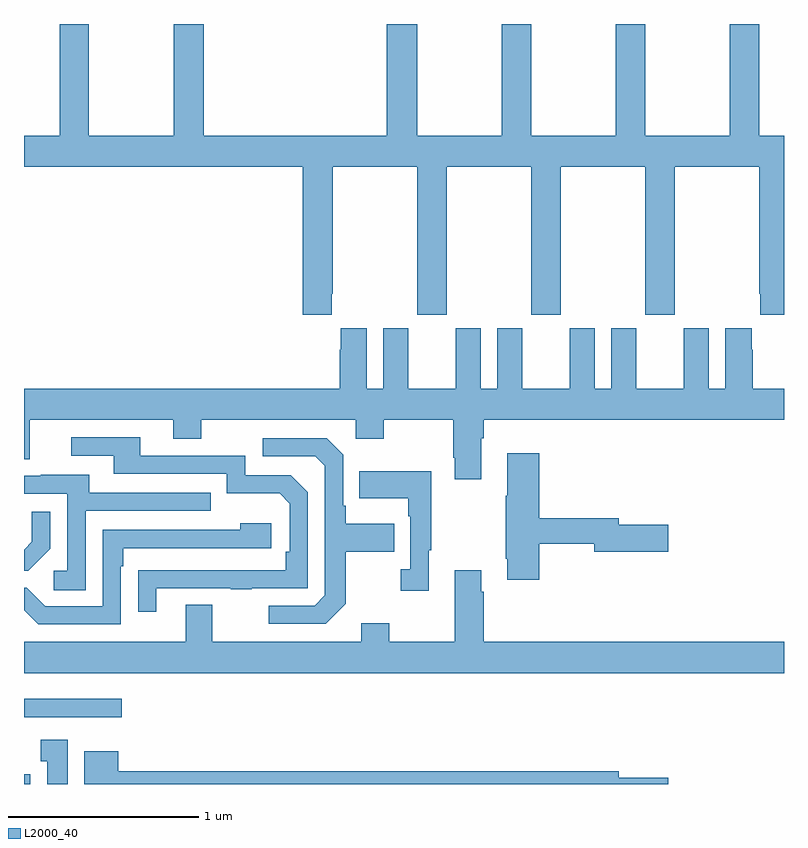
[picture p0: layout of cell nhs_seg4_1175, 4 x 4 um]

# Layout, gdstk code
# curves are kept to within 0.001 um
import gdstk
lib = gdstk.Library(unit=1e-6, precision=1e-09)
def R(c, l, rs):  # rectangles x0, y0, x1, y1
    for r in rs: c.add(gdstk.rectangle(r[:2], r[2:], *l))
def P(c, l, *ps):  # polygons
    for p in ps: c.add(gdstk.Polygon(p, *l))
L2000_40 = (2000, 40)

nhs_seg4_1175 = lib.new_cell('nhs_seg4_1175')
R(nhs_seg4_1175, L2000_40, [(171,798.9,171.034,798.952), (171,799.251,171.514,799.348)])
P(nhs_seg4_1175, L2000_40, [(172.621,801.481),(172.626,801.481),(172.626,802.148),(173.071,802.148),(173.071,801.369),(173.226,801.369),(173.226,802.148),(173.671,802.148),(173.671,801.369),(173.826,801.369),(173.826,802.148),(174.271,802.148),(174.271,801.369),(174.426,801.369),(174.426,802.148),(174.871,802.148),(174.871,801.481),(174.875,801.481),(174.875,801.369),(175,801.369),(175,802.312),(174.87,802.312),(174.87,802.9),(174.715,802.9),(174.715,802.312),(174.27,802.312),(174.27,802.9),(174.115,802.9),(174.115,802.312),(173.67,802.312),(173.67,802.9),(173.515,802.9),(173.515,802.312),(173.07,802.312),(173.07,802.9),(172.91,802.9),(172.91,802.312),(171.947,802.312),(171.947,802.9),(171.787,802.9),(171.787,802.312),(171.342,802.312),(171.342,802.9),(171.187,802.9),(171.187,802.312),(171,802.312),(171,802.148),(172.466,802.148),(172.466,801.369),(172.621,801.369)],
  [(173.407,800.72),(173.42,800.72),(173.42,800.816),(175,800.816),(175,800.98),(174.836,800.98),(174.836,801.185),(174.829,801.185),(174.829,801.298),(174.692,801.298),(174.692,800.98),(174.604,800.98),(174.604,801.298),(174.473,801.298),(174.473,800.98),(174.223,800.98),(174.223,801.298),(174.092,801.298),(174.092,800.98),(174.004,800.98),(174.004,801.298),(173.873,801.298),(173.873,800.98),(173.623,800.98),(173.623,801.298),(173.492,801.298),(173.492,800.98),(173.404,800.98),(173.404,801.298),(173.273,801.298),(173.273,800.98),(173.023,800.98),(173.023,801.298),(172.892,801.298),(172.892,800.98),(172.804,800.98),(172.804,801.298),(172.667,801.298),(172.667,801.185),(172.661,801.185),(172.661,800.98),(171,800.98),(171,800.608),(171.031,800.608),(171.031,800.816),(171.785,800.816),(171.785,800.717),(171.933,800.717),(171.933,800.816),(172.746,800.816),(172.746,800.717),(172.893,800.717),(172.893,800.816),(173.26,800.816),(173.26,800.617),(173.267,800.617),(173.267,800.505),(173.407,800.505)],
  [(171.697,799.929),(172.087,799.929),(172.087,799.924),(172.199,799.924),(172.199,799.929),(172.494,799.929),(172.494,800.436),(172.404,800.526),(172.164,800.526),(172.164,800.628),(171.613,800.628),(171.613,800.724),(171.249,800.724),(171.249,800.628),(171.473,800.628),(171.473,800.532),(172.068,800.532),(172.068,800.429),(172.345,800.429),(172.398,800.376),(172.398,800.122),(172.378,800.122),(172.378,800.025),(171.601,800.024),(171.601,799.806),(171.697,799.806)],
  [(172.693,799.849),(172.693,800.122),(172.949,800.122),(172.949,800.269),(172.693,800.269),(172.693,800.365),(172.68,800.365),(172.68,800.634),(172.593,800.721),(172.257,800.721),(172.257,800.625),(172.533,800.625),(172.584,800.574),(172.584,799.893),(172.53,799.839),(172.287,799.839),(172.287,799.743),(172.587,799.743)],
  [(173.711,800.164),(174.002,800.164),(174.002,800.122),(174.391,800.122),(174.391,800.264),(174.13,800.264),(174.13,800.3),(173.711,800.3),(173.711,800.641),(173.543,800.641),(173.543,800.417),(173.536,800.417),(173.536,800.086),(173.543,800.086),(173.543,799.974),(173.711,799.974)],
  [(173.131,800.129),(173.143,800.129),(173.143,800.545),(172.765,800.545),(172.765,800.405),(173.022,800.405),(173.022,800.309),(173.034,800.309),(173.034,800.03),(172.983,800.03),(172.983,799.917),(173.131,799.917)],
  [(171.324,800.337),(171.983,800.337),(171.983,800.433),(171.343,800.433),(171.343,800.527),(171.089,800.527),(171.089,800.523),(171,800.523),(171,800.427),(171.228,800.427),(171.228,800.022),(171.156,800.022),(171.156,799.921),(171.324,799.921)],
  [(171.138,800.138),(171.138,800.332),(171.041,800.332),(171.041,800.175),(171,800.134),(171,800.022),(171.022,800.022)],
  [(171.51,800.045),(171.523,800.045),(171.523,800.142),(172.3,800.142),(172.3,800.272),(172.139,800.272),(172.139,800.238),(171.414,800.238),(171.414,799.836),(171.111,799.836),(171.015,799.932),(171,799.932),(171,799.815),(171.075,799.74),(171.51,799.74)],
  [(175,799.648),(173.42,799.648),(173.42,799.913),(173.407,799.913),(173.407,800.026),(173.267,800.026),(173.267,799.648),(172.923,799.648),(172.923,799.747),(172.775,799.747),(172.775,799.648),(171.991,799.648),(171.991,799.843),(171.851,799.843),(171.851,799.648),(171,799.648),(171,799.484),(175,799.484)],
  [(171.229,799.132),(171.089,799.132),(171.089,799.019),(171.122,799.019),(171.122,798.9),(171.229,798.9)],
  [(174.391,798.932),(174.13,798.932),(174.13,798.968),(171.496,798.968),(171.496,799.072),(171.317,799.072),(171.317,798.9),(174.391,798.9)])

lib.write_gds('nhs_seg4_1175.gds')
